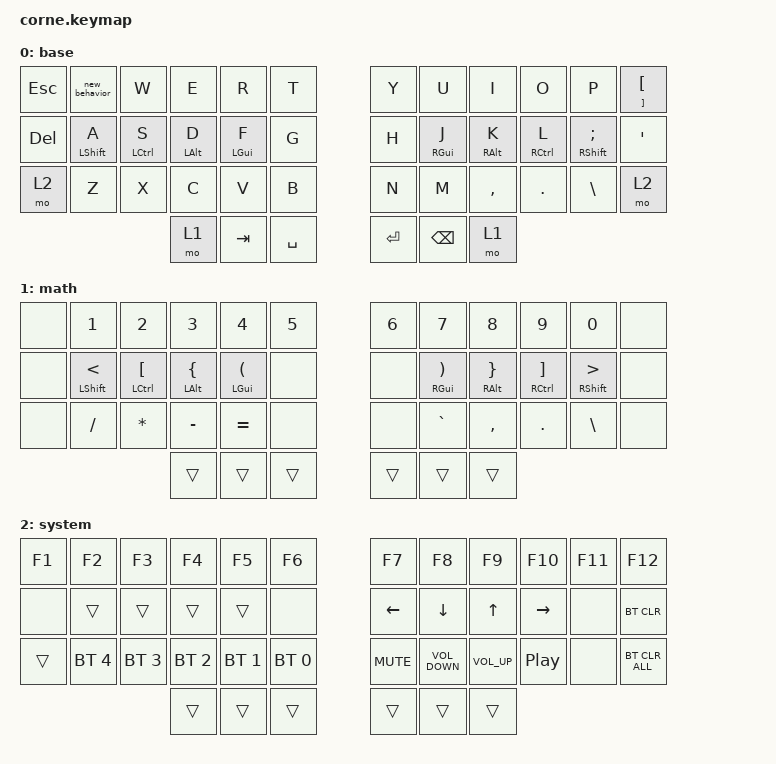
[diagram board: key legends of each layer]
/*
 * Copyright (c) 2020 The ZMK Contributors
 *
 * SPDX-License-Identifier: MIT
 */

#include <behaviors.dtsi>
#include <dt-bindings/zmk/bt.h>
#include <dt-bindings/zmk/keys.h>

/ {
    behaviors {
        hml: homewrow_mods_left {
            compatible = "zmk,behavior-hold-tap";
            label = "HOMEROW_MODS_LEFT_HAND";
            bindings = <&kp>, <&kp>;

            #binding-cells = <2>;
            tapping-term-ms = <200>;
            flavor = "tap-preferred";
            hold-trigger-key-positions = <6 7 8 9 10 18 19 20 21 22 30 31 32 33 34 39 40 41 11 23 35>;
        };

        hmr: homewrow_mods_right {
            compatible = "zmk,behavior-hold-tap";
            label = "HOMEROW_MODS_RIGHT_HAND";
            bindings = <&kp>, <&kp>;

            #binding-cells = <2>;
            tapping-term-ms = <200>;
            flavor = "tap-preferred";
            hold-trigger-key-positions = <0 1 2 3 4 5 12 13 14 15 16 17 24 25 26 27 28 29 36 37 38>;
        };

        new_behavior: new_behavior {
            compatible = "zmk,behavior-tap-dance";
            label = "NEW_BEHAVIOR";
            #binding-cells = <0>;
            bindings = <&kp Q>, <&kp GRAVE>;
        };
    };

    keymap {
        compatible = "zmk,keymap";

        base {
            // -----------------------------------------------------------------------------------------
            // |  TAB |  Q  |  W  |  E  |  R  |  T  |   |  Y  |  U   |  I  |  O  |  P  | BKSP |
            // | CTRL |  A  |  S  |  D  |  F  |  G  |   |  H  |  J   |  K  |  L  |  ;  |  '   |
            // | SHFT |  Z  |  X  |  C  |  V  |  B  |   |  N  |  M   |  ,  |  .  |  /  | ESC  |
            //                    | GUI | LWR | SPC |   | ENT | RSE  | ALT |

            bindings = <
&kp ESCAPE  &new_behavior      &kp W         &kp E            &kp R            &kp T        &kp Y    &kp U             &kp I             &kp O         &kp P                       &mt RIGHT_BRACKET LEFT_BRACKET
&kp DELETE  &hml LEFT_SHIFT A  &hml LCTRL S  &hml LEFT_ALT D  &hml LEFT_GUI F  &kp G        &kp H    &hmr RIGHT_GUI J  &hmr RIGHT_ALT K  &hmr RCTRL L  &hmr RIGHT_SHIFT SEMICOLON  &kp SQT
&mo 2       &kp Z              &kp X         &kp C            &kp V            &kp B        &kp N    &kp M             &kp COMMA         &kp DOT       &kp BACKSLASH               &mo 2
                                             &mo 1            &kp TAB          &kp SPACE    &kp RET  &kp BACKSPACE     &mo 1
            >;
        };

        math {
            // -----------------------------------------------------------------------------------------
            // |  TAB |  1  |  2  |  3  |  4  |  5  |   |  6  |  7  |  8  |  9  |  0  | BKSP |
            // | BTCLR| BT1 | BT2 | BT3 | BT4 | BT5 |   | LFT | DWN |  UP | RGT |     |      |
            // | SHFT |     |     |     |     |     |   |     |     |     |     |     |      |
            //                    | GUI |     | SPC |   | ENT |     | ALT |

            bindings = <
&none  &kp N1                     &kp N2                   &kp N3                    &kp N4                          &kp N5    &kp N6  &kp N7                            &kp N8                      &kp N9                    &kp N0                   &none
&none  &hml LEFT_SHIFT LESS_THAN  &hml LCTRL LEFT_BRACKET  &hml LEFT_ALT LEFT_BRACE  &hml LEFT_GUI LEFT_PARENTHESIS  &none     &none   &hmr RIGHT_GUI RIGHT_PARENTHESIS  &hmr RIGHT_ALT RIGHT_BRACE  &hmr RCTRL RIGHT_BRACKET  &hmr RSHFT GREATER_THAN  &none
&none  &kp SLASH                  &kp ASTRK                &kp MINUS                 &kp EQUAL                       &none     &none   &kp GRAVE                         &kp COMMA                   &kp DOT                   &kp BACKSLASH            &none
                                                           &trans                    &trans                          &trans    &trans  &trans                            &trans
            >;
        };

        system {
            bindings = <
&kp F1  &kp F2        &kp F3        &kp F4        &kp F5        &kp F6          &kp F7          &kp F8             &kp F9           &kp F10           &kp F11  &kp F12
&none   &trans        &trans        &trans        &trans        &none           &kp LEFT_ARROW  &kp DOWN_ARROW     &kp UP_ARROW     &kp RIGHT         &none    &bt BT_CLR
&trans  &bt BT_SEL 4  &bt BT_SEL 3  &bt BT_SEL 2  &bt BT_SEL 1  &bt BT_SEL 0    &kp C_MUTE      &kp C_VOLUME_DOWN  &kp C_VOLUME_UP  &kp C_PLAY_PAUSE  &none    &bt BT_CLR_ALL
                                    &trans        &trans        &trans          &trans          &trans             &trans
            >;
        };
    };
};
